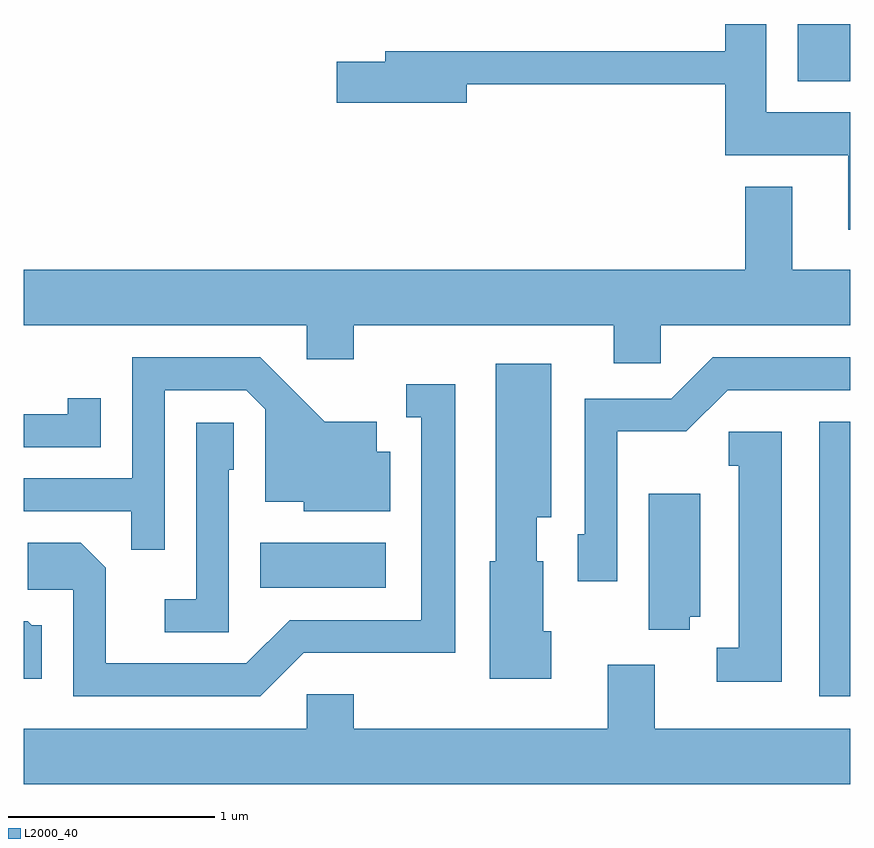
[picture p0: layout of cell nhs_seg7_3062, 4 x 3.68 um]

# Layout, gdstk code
import gdstk
lib = gdstk.Library(unit=1e-6, precision=1e-09)
def R(c, l, rs):  # rectangles x0, y0, x1, y1
    for r in rs: c.add(gdstk.rectangle(r[:2], r[2:], *l))
def P(c, l, *ps):  # polygons
    for p in ps: c.add(gdstk.Polygon(p, *l))
L2000_40 = (2000, 40)

nhs_seg7_3062 = lib.new_cell('nhs_seg7_3062')
R(nhs_seg7_3062, L2000_40, [(283.461,1677.001,283.611,1678.329), (280.756,1677.526,281.364,1677.744), (283.356,1679.976,283.611,1680.252)])
P(nhs_seg7_3062, L2000_40, [(283.611,1679.824),(283.204,1679.824),(283.204,1680.252),(283.006,1680.252),(283.006,1680.119),(281.361,1680.119),(281.361,1680.069),(281.126,1680.069),(281.126,1679.871),(281.754,1679.871),(281.754,1679.961),(283.006,1679.961),(283.006,1679.616),(283.601,1679.616),(283.601,1679.256),(283.611,1679.256)],
  [(282.694,1678.796),(283.611,1678.796),(283.611,1679.064),(283.329,1679.064),(283.329,1679.464),(283.101,1679.464),(283.101,1679.064),(279.611,1679.064),(279.611,1678.796),(280.981,1678.796),(280.981,1678.631),(281.209,1678.631),(281.209,1678.796),(282.466,1678.796),(282.466,1678.611),(282.694,1678.611)],
  [(280.294,1678.481),(280.689,1678.481),(280.781,1678.389),(280.781,1677.941),(280.966,1677.941),(280.966,1677.896),(281.384,1677.896),(281.384,1678.184),(281.319,1678.184),(281.319,1678.329),(281.067,1678.329),(280.757,1678.639),(280.136,1678.639),(280.136,1678.054),(279.611,1678.054),(279.611,1677.896),(280.131,1677.896),(280.131,1677.708),(280.294,1677.708)],
  [(282.484,1678.281),(282.817,1678.281),(283.017,1678.481),(283.611,1678.481),(283.611,1678.639),(282.944,1678.639),(282.744,1678.439),(282.326,1678.439),(282.326,1677.784),(282.291,1677.784),(282.291,1677.556),(282.484,1677.556)],
  [(282.164,1677.314),(282.124,1677.314),(282.124,1677.654),(282.094,1677.654),(282.094,1677.866),(282.164,1677.866),(282.164,1678.609),(281.896,1678.609),(281.896,1677.654),(281.866,1677.654),(281.866,1677.086),(282.164,1677.086)],
  [(280.967,1677.211),(281.699,1677.211),(281.699,1678.509),(281.463,1678.509),(281.463,1678.351),(281.536,1678.351),(281.536,1677.369),(280.899,1677.369),(280.689,1677.159),(280.009,1677.159),(280.009,1677.622),(279.887,1677.744),(279.631,1677.744),(279.631,1677.516),(279.851,1677.516),(279.851,1677.001),(280.757,1677.001)],
  [(279.984,1678.443),(279.826,1678.443),(279.826,1678.364),(279.611,1678.364),(279.611,1678.206),(279.984,1678.206)],
  [(280.604,1678.096),(280.629,1678.096),(280.629,1678.324),(280.446,1678.324),(280.446,1677.469),(280.293,1677.469),(280.293,1677.311),(280.604,1677.311)],
  [(283.279,1678.279),(283.023,1678.279),(283.023,1678.116),(283.071,1678.116),(283.071,1677.234),(282.963,1677.234),(282.963,1677.071),(283.279,1677.071)],
  [(282.834,1677.386),(282.884,1677.386),(282.884,1677.979),(282.636,1677.979),(282.636,1677.321),(282.834,1677.321)],
  [(279.699,1677.344),(279.652,1677.344),(279.632,1677.364),(279.611,1677.364),(279.611,1677.086),(279.699,1677.086)],
  [(283.611,1676.844),(282.664,1676.844),(282.664,1677.154),(282.436,1677.154),(282.436,1676.844),(281.209,1676.844),(281.209,1677.009),(280.981,1677.009),(280.981,1676.844),(279.611,1676.844),(279.611,1676.576),(283.611,1676.576)])

lib.write_gds('nhs_seg7_3062.gds')
